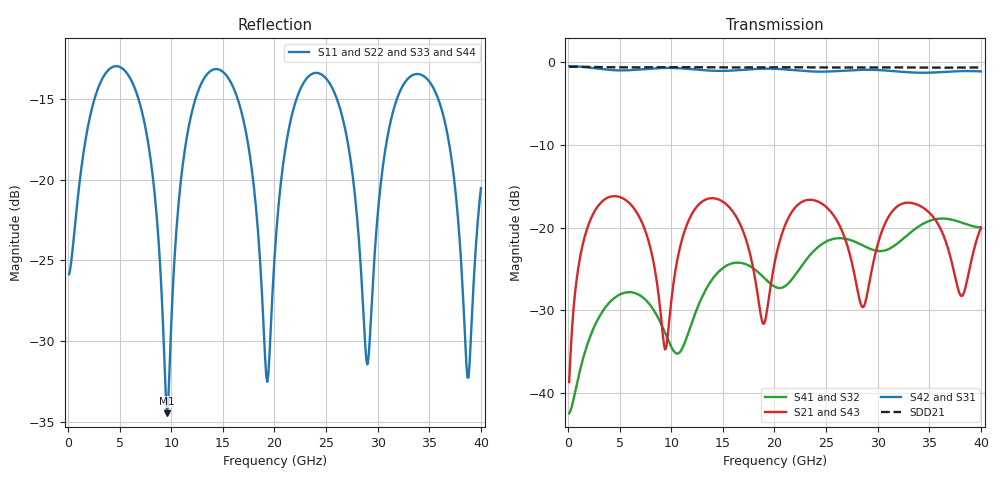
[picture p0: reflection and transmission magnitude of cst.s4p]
! thru_BV_ts_m2_per0_out: 2×thru In3.Cu, 8 mm, pair
! stackup: as the board case
! ports: 1 near, 2 near, 3 far, 4 far
! CST Studio Suite 2025.5 Release from 2025-05-30, time domain (FIT, hexahedral, PBA), 86478 mesh cells, 25 s
! mesh: {'lpw': 20, 'lpb': 20, 'minstep': 0.0, 'ratio': 20}; ports: port 1 (face); port 2 (face); port 3 (face); port 4 (face)
! interpolated from CST's 1001 samples to the case grid
# Hz S RI R 50
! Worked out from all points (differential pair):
!   400 points, 100 MHz to 40 GHz, reference 50 ohm
!   strongest paths, dB at 100 MHz, 10.1 GHz, 20.1 GHz, 30.1 GHz, 40 GHz:
!     S42: -0.5, -0.7, -0.8, -0.9, -1.1
!     S31: -0.5, -0.7, -0.8, -0.9, -1.1
!     S21: -38.7, -27.8, -23.7, -21.6, -20.0
!     S43: -38.7, -27.8, -23.7, -21.6, -20.0
!     S41: -42.5, -34.7, -27.2, -22.8, -20.0
!     S32: -42.5, -34.7, -27.2, -22.8, -20.0
!   taken as a pair (ports 2,1 in; 4,3 out), SDD21 dB: -0.5, -0.6, -0.6, -0.6, -0.6
!   lowest |S11| = -34.5 dB at 9.6 GHz (marker M1), VSWR 1.04, Z = 51.9 - j0.00822 ohm
!   |S11| at or under -10 dB: start of sweep to end of sweep
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1e8  -0.05 0.00964  0.0102 0.00547  0.9464 -0.0341  0.00736 -0.00156
     0.0102 0.00547  -0.05 0.00964  0.00736 -0.00156  0.9464 -0.0341
     0.9464 -0.0341  0.00736 -0.00156  -0.05 0.00964  0.0102 0.00547
     0.00736 -0.00156  0.9464 -0.0341  0.0102 0.00547  -0.05 0.00964
3.9e9  0.2 0.0875  0.1494 0.0295  0.1932 -0.8791  -0.0164 0.0305
       0.1494 0.0295  0.2 0.0876  -0.0164 0.0305  0.1932 -0.8791
       0.1932 -0.8791  -0.0164 0.0305  0.2 0.0876  0.1494 0.0295
       -0.0164 0.0305  0.1932 -0.8791  0.1494 0.0295  0.2 0.0875
9.6e9  0.0189 -7.91e-05  0.0189 0.00816  -0.9162 0.1238  0.00572 -0.0208
       0.0189 0.00816  0.0189 -7.09e-05  0.00572 -0.0208  -0.9162 0.1238
       -0.9162 0.1238  0.00572 -0.0208  0.0189 -6.03e-05  0.0189 0.00816
       0.00572 -0.0208  -0.9162 0.1238  0.0189 0.00816  0.0189 -8.98e-05
1.81e10  0.0424 -0.0781  0.0352 -0.0353  0.9035 0.1094  -0.0263 0.0492
         0.0352 -0.0353  0.0426 -0.0781  -0.0263 0.0491  0.9035 0.1094
         0.9035 0.1094  -0.0263 0.0491  0.0426 -0.0781  0.0352 -0.0353
         -0.0263 0.0492  0.9035 0.1094  0.0352 -0.0353  0.0424 -0.0781
2.75e10  0.0467 -0.0968  0.0449 -0.0417  -0.8944 -0.0443  0.0355 -0.0755
         0.0449 -0.0417  0.0468 -0.0968  0.0356 -0.0755  -0.8944 -0.0443
         -0.8944 -0.0443  0.0356 -0.0755  0.0468 -0.0968  0.0449 -0.0417
         0.0355 -0.0755  -0.8944 -0.0443  0.0449 -0.0417  0.0467 -0.0968
3.27e10  0.2007 -0.0148  0.1411 -0.000566  0.1645 0.8566  -0.078 -0.0409
         0.1411 -0.000566  0.2009 -0.014  -0.0779 -0.0409  0.1646 0.8566
         0.1645 0.8566  -0.0779 -0.0409  0.2009 -0.014  0.1411 -0.000566
         -0.078 -0.0409  0.1646 0.8566  0.1411 -0.000566  0.2007 -0.0148
4e10  0.0867 0.0364  0.0913 0.04  0.379 -0.7941  0.0609 0.0799
      0.0913 0.04  0.0867 0.0365  0.0609 0.08  0.3789 -0.7941
      0.379 -0.7941  0.0609 0.08  0.0867 0.0365  0.0913 0.04
      0.0609 0.0799  0.3789 -0.7941  0.0913 0.04  0.0867 0.0364
